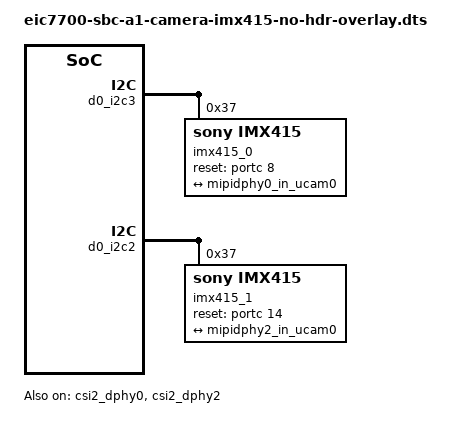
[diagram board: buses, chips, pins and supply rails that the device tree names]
/* SPDX-License-Identifier: GPL-2.0 */
/*
 * Copyright 2026, Beijing ESWIN Computing Technology Co., Ltd.. All rights reserved.
 *
 */

/dts-v1/;
/plugin/;

/ {
	fragment@0 {
		target = <&mipidphy0_in_ucam0>;
		__overlay__ {
			remote-endpoint = <&imx415_out0>;
			data-lanes = <1 2 3 4>;
		};
	};

	fragment@1 {
		target = <&mipidphy2_in_ucam0>;
		__overlay__ {
			remote-endpoint = <&imx415_out1>;
			data-lanes = <1 2 3 4>;
		};
	};

	fragment@2 {
		target = <&csi2_dphy0>;
		__overlay__ {
			status = "okay";
		};
	};

	fragment@3 {
		target = <&csi2_dphy2>;
		__overlay__ {
			status = "okay";
		};
	};

	fragment@4 {
		target = <&d0_i2c3>;
		__overlay__ {
			#address-cells = <1>;
			#size-cells = <0>;
			imx415_0:imx415_0@37 {
				compatible = "sony,imx415";
				reg = <0x37>;
				clock-names="inck";
				clocks = <&d0_clock 0x244>;
				assigned-clocks = <&d0_clock 0x244>;
				assigned-clock-rates = <37125000>;
				pinctrl-names = "default";
				pinctrl-0 = <&pinctrl_gpio72_default>;
				reset-gpio = <&portc 8 0>;
				eswin,camera-hdr-mode = <0>;
				power-domains = <&d0_pmu 2>;
				status = "okay";
				port {
					imx415_out0:endpoint {
						remote-endpoint = <&mipidphy0_in_ucam0>;
						data-lanes = <1 2 3 4>;
						link-frequencies = /bits/ 64 <742500000>;
					};
				};
			};
		};
	};

	fragment@5 {
		target =  <&d0_i2c2>;
		__overlay__ {
			#address-cells = <1>;
			#size-cells = <0>;
			imx415_1:imx415_1@37 {
				compatible = "sony,imx415";
				reg = <0x37>;
				clock-names="inck";
				clocks = <&d0_clock 0x244>;
				assigned-clocks = <&d0_clock 0x244>;
				assigned-clock-rates = <37125000>;
				pinctrl-names = "default";
				pinctrl-0 = <&pinctrl_gpio78_default>;
				reset-gpio = <&portc 14 0>;
				eswin,camera-hdr-mode = <0>;
				power-domains = <&d0_pmu 2>;
				status = "okay";
				port {
					imx415_out1: endpoint {
						remote-endpoint = <&mipidphy2_in_ucam0>;
						data-lanes = <1 2 3 4>;
						link-frequencies = /bits/ 64 <742500000>;
					};
				};
			};
		};
	};

	fragment@6 {
		target = <&mipi_csi2_0>;
		__overlay__ {
			eswin,csi-hdr-mode = <0>;
		};
	};

	fragment@7 {
		target = <&mipi_csi2_2>;
		__overlay__ {
			eswin,csi-hdr-mode = <0>;
		};
	};

	fragment@8 {
		target = <&dvp2axi_mipi_lvds0>;
		__overlay__ {
			eswin,dvp2axi-hdr-mode = <0>;
		};
	};

	fragment@9 {
		target = <&dvp2axi_mipi_lvds1>;
		__overlay__ {
			eswin,dvp2axi-hdr-mode = <0>;
		};
	};

	fragment@10 {
		target = <&dvp2axi_mipi_lvds2>;
		__overlay__ {
			eswin,dvp2axi-hdr-mode = <0>;
		};
	};

	fragment@11 {
		target = <&dvp2axi_mipi_lvds3>;
		__overlay__ {
			eswin,dvp2axi-hdr-mode = <0>;
		};
	};

	fragment@12 {
		target = <&imx219_0>;
		__overlay__ {
			status="disabled";
		};
	};

	fragment@13 {
		target = <&imx219_1>;
		__overlay__ {
			status="disabled";
		};
	};

	fragment@14 {
		target = <&csi2_dphy_hw0>;
		__overlay__ {
			lanes = <1 2 3 4>;
			lanes-dp-dn = <0 0 0 0>;
		};
	};

	fragment@15 {
		target = <&csi2_dphy_hw2>;
		__overlay__ {
			lanes = <1 2 3 4>;
			lanes-dp-dn = <0 0 0 0>;
		};
	};

	fragment@16 {
		target = <&vi_subsys>;
		__overlay__ {
			phy_mode = <2>;
		};
	};
};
